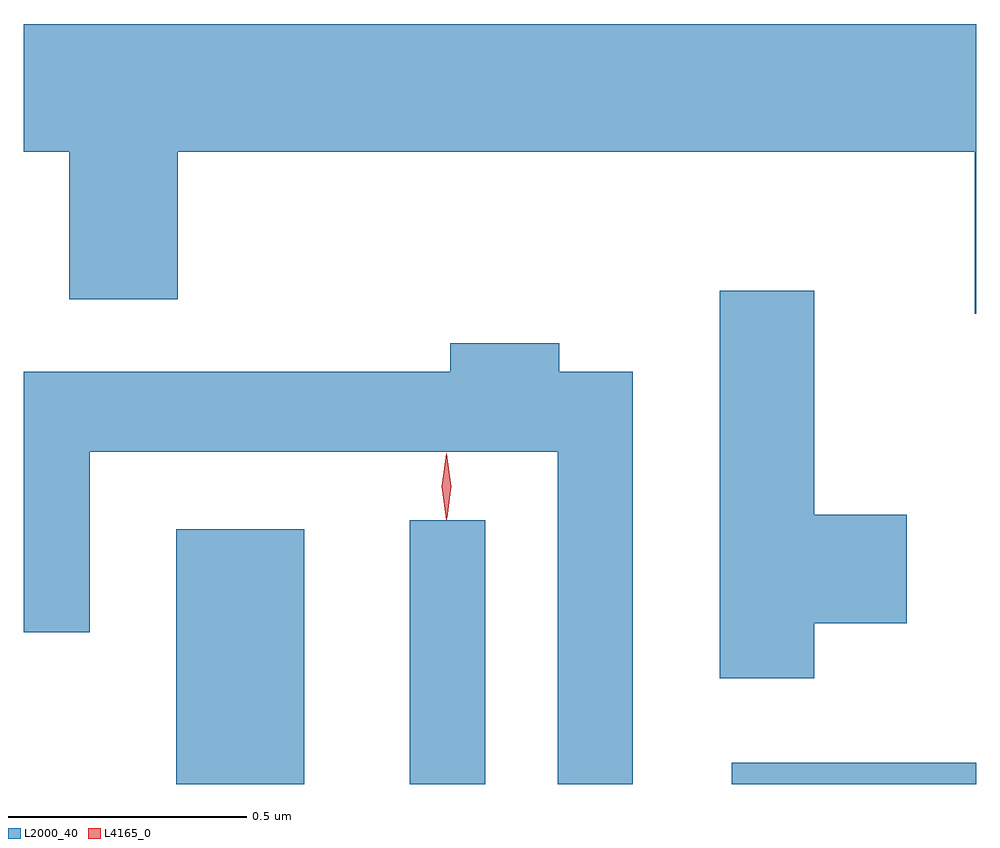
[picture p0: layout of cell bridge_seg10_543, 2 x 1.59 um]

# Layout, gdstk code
import gdstk
lib = gdstk.Library(unit=1e-6, precision=1e-09)
def R(c, l, rs):  # rectangles x0, y0, x1, y1
    for r in rs: c.add(gdstk.rectangle(r[:2], r[2:], *l))
def P(c, l, *ps):  # polygons
    for p in ps: c.add(gdstk.Polygon(p, *l))
L2000_40 = (2000, 40)
L4165_0 = (4165, 0)

bridge_seg10_543 = lib.new_cell('bridge_seg10_543')
R(bridge_seg10_543, L2000_40, [(869.056,2168.089,869.324,2168.624), (869.546,2168.089,869.704,2168.643), (870.221,2168.089,870.735,2168.134)])
P(bridge_seg10_543, L2000_40, [(870.735,2169.684),(868.735,2169.684),(868.735,2169.416),(868.831,2169.416),(868.831,2169.106),(869.059,2169.106),(869.059,2169.416),(870.731,2169.416),(870.731,2169.076),(870.735,2169.076)],
  [(870.394,2168.426),(870.589,2168.426),(870.589,2168.654),(870.394,2168.654),(870.394,2169.124),(870.196,2169.124),(870.196,2168.311),(870.394,2168.311)],
  [(870.014,2168.954),(869.859,2168.954),(869.859,2169.014),(869.631,2169.014),(869.631,2168.954),(868.735,2168.954),(868.735,2168.408),(868.874,2168.408),(868.874,2168.786),(869.856,2168.786),(869.856,2168.089),(870.014,2168.089)])
P(bridge_seg10_543, L4165_0, [(869.622,2168.644),(869.613,2168.713),(869.622,2168.782),(869.623,2168.783),(869.623,2168.782),(869.633,2168.713),(869.623,2168.644),(869.623,2168.644)],
  [(869.623,2168.647),(869.623,2168.648),(869.613,2168.714),(869.622,2168.78),(869.623,2168.78),(869.623,2168.78),(869.633,2168.714),(869.624,2168.648)])

lib.write_gds('bridge_seg10_543.gds')
